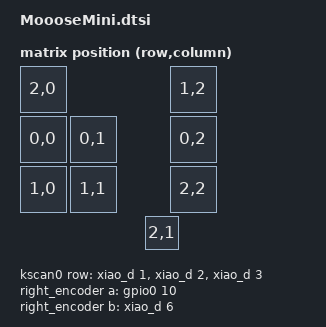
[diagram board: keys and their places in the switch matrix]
#include <dt-bindings/zmk/matrix_transform.h>
#include <physical_layouts.dtsi>

/ {
    chosen {
        zmk,physical-layout = &MoooseMini_physical_layout;
    };

    MoooseMini_physical_layout: MoooseMini_physical_layout {
        compatible = "zmk,physical-layout";
        display-name = "Default";
        transform = <&default_transform>;
        kscan = <&kscan0>;

        keys  //                     w   h    x    y     rot    rx    ry
            = <&key_physical_attrs 100 100    0    0       0     0     0>
            , <&key_physical_attrs 100 100  300    0       0     0     0>
            , <&key_physical_attrs 100 100    0  100       0     0     0>
            , <&key_physical_attrs 100 100  100  100       0     0     0>
            , <&key_physical_attrs 100 100  300  100       0     0     0>
            , <&key_physical_attrs 100 100    0  200       0     0     0>
            , <&key_physical_attrs 100 100  100  200       0     0     0>
            , <&key_physical_attrs 100 100  300  200       0     0     0>
            , <&key_physical_attrs  75  75  250  300       0     0     0>
            ;
    };

    default_transform: keymap_transform_0 {
        compatible = "zmk,matrix-transform";
        columns = <3>;
        rows = <3>;
        map = <
            RC(2,0)         RC(1,2)
            RC(0,0) RC(0,1) RC(0,2)
            RC(1,0) RC(1,1) RC(2,2)
                            RC(2,1)
        >;
    };

    kscan0: kscan {
        compatible = "zmk,kscan-gpio-matrix";
        label = "KSCAN";
        diode-direction = "col2row";
            row-gpios
                = <&xiao_d 1 (GPIO_ACTIVE_HIGH | GPIO_PULL_DOWN)>
                , <&xiao_d 2 (GPIO_ACTIVE_HIGH | GPIO_PULL_DOWN)>
                , <&xiao_d 3 (GPIO_ACTIVE_HIGH | GPIO_PULL_DOWN)>
                ;
    };

    right_encoder: encoder_right {
        compatible = "alps,ec11";
        a-gpios = <&gpio0 10 (GPIO_ACTIVE_HIGH | GPIO_PULL_UP)>;
        b-gpios = <&xiao_d 6 (GPIO_ACTIVE_HIGH | GPIO_PULL_UP)>;
        steps = <24>;
        status = "disabled";
    };

    sensors: sensors {
        compatible = "zmk,keymap-sensors";
        sensors = <&right_encoder>;
        triggers-per-rotation = <10>;
    };
};
